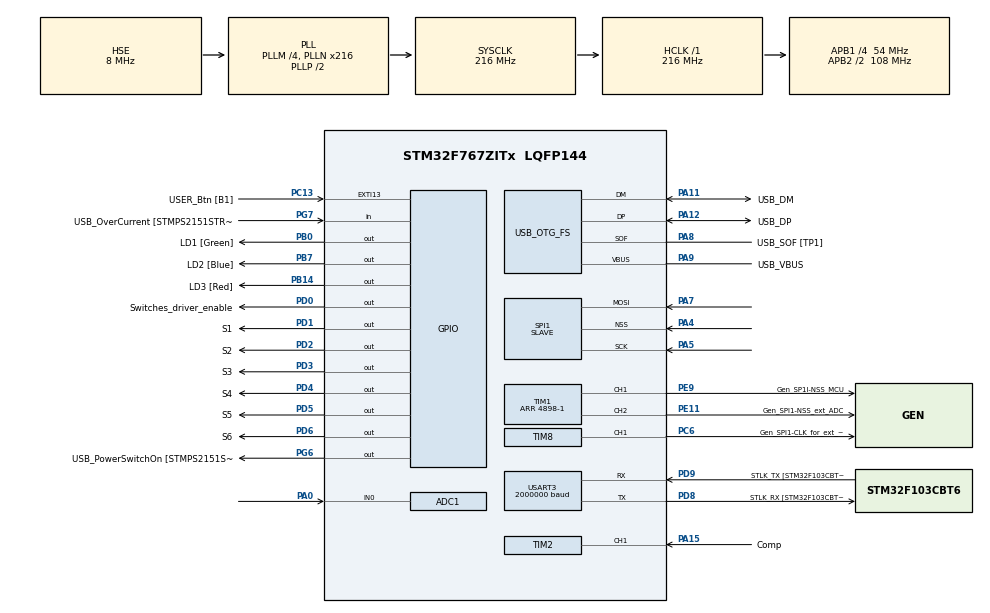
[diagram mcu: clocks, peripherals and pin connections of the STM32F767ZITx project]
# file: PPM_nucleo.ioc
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ADC1.Channel-0\#ChannelRegularConversion=ADC_CHANNEL_0
ADC1.EOCSelection=ADC_EOC_SINGLE_CONV
ADC1.ExternalTrigConv=ADC_EXTERNALTRIGCONV_T6_TRGO
ADC1.NbrOfConversionFlag=1
ADC1.Rank-0\#ChannelRegularConversion=1
ADC1.SamplingTime-0\#ChannelRegularConversion=ADC_SAMPLETIME_15CYCLES
ADC1.master=1
Dma.ADC1.1.Direction=DMA_PERIPH_TO_MEMORY
Dma.ADC1.1.FIFOMode=DMA_FIFOMODE_DISABLE
Dma.ADC1.1.Instance=DMA2_Stream4
Dma.ADC1.1.MemDataAlignment=DMA_MDATAALIGN_HALFWORD
Dma.ADC1.1.MemInc=DMA_MINC_ENABLE
Dma.ADC1.1.Mode=DMA_NORMAL
Dma.ADC1.1.PeriphDataAlignment=DMA_PDATAALIGN_HALFWORD
Dma.ADC1.1.PeriphInc=DMA_PINC_DISABLE
Dma.ADC1.1.Priority=DMA_PRIORITY_LOW
Dma.Request0=SPI1_RX
Dma.Request1=ADC1
Dma.SPI1_RX.0.Direction=DMA_PERIPH_TO_MEMORY
Dma.SPI1_RX.0.FIFOMode=DMA_FIFOMODE_DISABLE
Dma.SPI1_RX.0.Instance=DMA2_Stream0
Dma.SPI1_RX.0.MemDataAlignment=DMA_MDATAALIGN_HALFWORD
Dma.SPI1_RX.0.MemInc=DMA_MINC_ENABLE
Dma.SPI1_RX.0.Mode=DMA_NORMAL
Dma.SPI1_RX.0.PeriphDataAlignment=DMA_PDATAALIGN_HALFWORD
Dma.SPI1_RX.0.PeriphInc=DMA_PINC_DISABLE
Dma.SPI1_RX.0.Priority=DMA_PRIORITY_LOW
Mcu.Family=STM32F7
Mcu.Name=STM32F767ZITx
Mcu.Package=LQFP144
NVIC.DMA2_Stream0_IRQn=true\:1\:0\:true\:false\:true\:false\:true
NVIC.DMA2_Stream4_IRQn=true\:1\:0\:true\:false\:true\:false\:true
NVIC.PriorityGroup=NVIC_PRIORITYGROUP_4
NVIC.TIM1_CC_IRQn=true\:1\:0\:true\:false\:true\:true\:true
NVIC.TIM2_IRQn=true\:1\:0\:true\:false\:true\:true\:true
NVIC.TIM3_IRQn=true\:0\:0\:false\:false\:true\:true\:true
NVIC.TIM8_CC_IRQn=true\:1\:0\:true\:false\:true\:true\:true
NVIC.USART3_IRQn=true\:0\:0\:true\:false\:true\:true\:true
PA0/WKUP.Signal=ADCx_IN0
PA10.GPIO_Label=USB_ID
PA10.Signal=USB_OTG_FS_ID
PA11.GPIO_Label=USB_DM
PA11.Mode=Device_Only
PA11.Signal=USB_OTG_FS_DM
PA12.GPIO_Label=USB_DP
PA12.Mode=Device_Only
PA12.Signal=USB_OTG_FS_DP
PA13.GPIO_Label=TMS
PA13.Mode=Serial_Wire
PA13.Signal=SYS_JTMS-SWDIO
PA14.GPIO_Label=TCK
PA14.Mode=Serial_Wire
PA14.Signal=SYS_JTCK-SWCLK
PA15.GPIO_Label=Comp
PA15.Signal=S_TIM2_CH1_ETR
PA4.Mode=NSS_Signal_Hard_Input
PA4.Signal=SPI1_NSS
PA5.Mode=RX_Only_Simplex_Unidirect_Slave
PA5.Signal=SPI1_SCK
PA6.Signal=SPI1_MISO
PA7.Mode=RX_Only_Simplex_Unidirect_Slave
PA7.Signal=SPI1_MOSI
PA8.GPIO_Label=USB_SOF [TP1]
PA8.Mode=Activate_SOF_FS
PA8.Signal=USB_OTG_FS_SOF
PA9.GPIO_Label=USB_VBUS
PA9.Mode=Activate_VBUS
PA9.Signal=USB_OTG_FS_VBUS
PB0.GPIO_Label=LD1 [Green]
PB0.Signal=GPIO_Output
PB13.GPIO_Label=RMII_TXD1 [LAN8742A-CZ-TR_TXD1]
PB13.Signal=ETH_TXD1
PB14.GPIO_Label=LD3 [Red]
PB14.Signal=GPIO_Output
PB3.GPIO_Label=SWO
PB3.Signal=SYS_JTDO-SWO
PB7.GPIO_Label=LD2 [Blue]
PB7.Signal=GPIO_Output
PC1.GPIO_Label=RMII_MDC [LAN8742A-CZ-TR_MDC]
PC1.Signal=ETH_MDC
PC13.GPIO_Label=USER_Btn [B1]
PC13.Signal=GPXTI13
PC14/OSC32_IN.Mode=LSE-External-Oscillator
PC14/OSC32_IN.Signal=RCC_OSC32_IN
PC15/OSC32_OUT.Mode=LSE-External-Oscillator
PC15/OSC32_OUT.Signal=RCC_OSC32_OUT
PC4.GPIO_Label=RMII_RXD0 [LAN8742A-CZ-TR_RXD0]
PC4.Signal=ETH_RXD0
PC5.GPIO_Label=RMII_RXD1 [LAN8742A-CZ-TR_RXD1]
PC5.Signal=ETH_RXD1
PC6.GPIO_Label=Gen_SPI1-CLK_for_ext_ADC
PC6.Signal=S_TIM8_CH1
PD0.GPIO_Label=Switches_driver_enable
PD0.Signal=GPIO_Output
PD1.GPIO_Label=S1
PD1.Signal=GPIO_Output
PD2.GPIO_Label=S2
PD2.Signal=GPIO_Output
PD3.GPIO_Label=S3
PD3.Signal=GPIO_Output
PD4.GPIO_Label=S4
PD4.Signal=GPIO_Output
PD5.GPIO_Label=S5
PD5.Signal=GPIO_Output
PD6.GPIO_Label=S6
PD6.Signal=GPIO_Output
PD8.GPIO_Label=STLK_RX [STM32F103CBT6_PA3]
PD8.Mode=Asynchronous
PD8.Signal=USART3_TX
PD9.GPIO_Label=STLK_TX [STM32F103CBT6_PA2]
PD9.Mode=Asynchronous
PD9.Signal=USART3_RX
PE11.GPIO_Label=Gen_SPI1-NSS_ext_ADC
PE11.Signal=S_TIM1_CH2
PE9.GPIO_Label=Gen_SP1I-NSS_MCU
PE9.Signal=S_TIM1_CH1
PG11.GPIO_Label=RMII_TX_EN [LAN8742A-CZ-TR_TXEN]
PG11.Signal=ETH_TX_EN
PG13.GPIO_Label=RMII_TXD0 [LAN8742A-CZ-TR_TXD0]
PG13.Signal=ETH_TXD0
PG6.GPIO_Label=USB_PowerSwitchOn [STMPS2151STR_EN]
PG6.Signal=GPIO_Output
PG7.GPIO_Label=USB_OverCurrent [STMPS2151STR_FAULT]
PG7.Signal=GPIO_Input
PH0/OSC_IN.GPIO_Label=MCO [STM32F103CBT6_PA8]
PH0/OSC_IN.Mode=HSE-External-Clock-Source
PH0/OSC_IN.Signal=RCC_OSC_IN
PH1/OSC_OUT.Mode=HSE-External-Clock-Source
PH1/OSC_OUT.Signal=RCC_OSC_OUT
ProjectManager.HeapSize=0x200
ProjectManager.StackSize=0x400
ProjectManager.TargetToolchain=STM32CubeIDE
RCC.48MHZClocksFreq_Value=24000000
RCC.AHBFreq_Value=216000000
RCC.APB1CLKDivider=RCC_HCLK_DIV4
RCC.APB1Freq_Value=54000000
RCC.APB1TimFreq_Value=216000000
RCC.APB2CLKDivider=RCC_HCLK_DIV2
RCC.APB2Freq_Value=108000000
RCC.APB2TimFreq_Value=216000000
RCC.CortexFreq_Value=216000000
RCC.HCLKFreq_Value=216000000
RCC.HSE_VALUE=8000000
RCC.HSI_VALUE=16000000
RCC.PLLM=4
RCC.PLLMUL=RCC_PLL_MUL9
RCC.PLLN=216
RCC.PLLQ=9
RCC.PRESCALERUSB=RCC_USBCLKSOURCE_PLL_DIV1_5
RCC.RCC_TIM_PRescaler_Selection=RCC_TIMPRES_ACTIVATED
RCC.SYSCLKFreq_VALUE=216000000
RCC.SYSCLKSource=RCC_SYSCLKSOURCE_PLLCLK
RCC.SYSCLKSourceVirtual=RCC_SYSCLKSOURCE_PLLCLK
RCC.USBFreq_Value=48000000
RCC.VCOOutputFreq_Value=432000000
SH.ADCx_IN0.0=ADC1_IN0,IN0
SH.S_TIM1_CH1.0=TIM1_CH1,PWM Generation1 CH1
SH.S_TIM1_CH2.0=TIM1_CH2,PWM Generation2 CH2
SH.S_TIM2_CH1_ETR.0=TIM2_CH1,Input_Capture1_from_TI1
SH.S_TIM8_CH1.0=TIM8_CH1,PWM Generation1 CH1
SPI1.DataSize=SPI_DATASIZE_16BIT
SPI1.Direction=SPI_DIRECTION_2LINES_RXONLY
SPI1.Mode=SPI_MODE_SLAVE
SPI1.TIMode=SPI_TIMODE_DISABLE
SPI1.VirtualNSS=VM_NSSHARD
SPI1.VirtualType=VM_SLAVE
TIM1.Channel-PWM\ Generation1\ CH1=TIM_CHANNEL_1
TIM1.Channel-PWM\ Generation2\ CH2=TIM_CHANNEL_2
TIM1.CounterMode=TIM_COUNTERMODE_UP
TIM1.OCIdleState_1=TIM_OCIDLESTATE_SET
TIM1.OCIdleState_2=TIM_OCIDLESTATE_SET
TIM1.OCMode_PWM-PWM\ Generation1\ CH1=TIM_OCMODE_PWM2
TIM1.OCMode_PWM-PWM\ Generation2\ CH2=TIM_OCMODE_PWM1
TIM1.OCPolarity_1=TIM_OCPOLARITY_LOW
TIM1.OCPolarity_2=TIM_OCPOLARITY_LOW
TIM1.Period=4898-1
TIM1.Pulse-PWM\ Generation1\ CH1=864+10
TIM1.Pulse-PWM\ Generation2\ CH2=3000
TIM1.RepetitionCounter=0
TIM1.TIM_MasterOutputTrigger=TIM_TRGO_UPDATE
TIM1.TIM_MasterOutputTrigger2=TIM_TRGO2_RESET
TIM1.TIM_MasterSlaveMode=TIM_MASTERSLAVEMODE_ENABLE
TIM2.Channel-Input_Capture1_from_TI1=TIM_CHANNEL_1
TIM2.Period=0xffffffff
TIM3.Period=43200-1
TIM3.Prescaler=50000
TIM6.Period=4898-1
TIM6.TIM_MasterOutputTrigger=TIM_TRGO_UPDATE
TIM8.Channel-PWM\ Generation1\ CH1=TIM_CHANNEL_1
TIM8.OCIdleState_1=TIM_OCIDLESTATE_RESET
TIM8.OCMode_PWM-PWM\ Generation1\ CH1=TIM_OCMODE_PWM2
TIM8.OCPolarity_1=TIM_OCPOLARITY_HIGH
TIM8.Period=108-1
TIM8.Pulse-PWM\ Generation1\ CH1=54
TIM8.RepetitionCounter=24
TIM8.TIM_MasterOutputTrigger=TIM_TRGO_RESET
TIM8.TIM_MasterSlaveMode=TIM_MASTERSLAVEMODE_DISABLE
USART3.BaudRate=2000000
USART3.VirtualMode-Asynchronous=VM_ASYNC
USB_OTG_FS.VirtualMode=Device_Only
VP_TIM1_VS_ClockSourceINT.Mode=Internal
VP_TIM3_VS_ClockSourceINT.Mode=Internal
VP_TIM6_VS_ClockSourceINT.Mode=Enable_Timer
VP_TIM8_VS_ClockSourceINT.Mode=Internal
VP_TIM8_VS_ClockSourceITR.Mode=TriggerSource_ITR0
VP_TIM8_VS_ControllerModeTrigger.Mode=Trigger Mode
VP_TIM8_VS_OPM.Mode=OPM_bit
board=NUCLEO-F767ZI

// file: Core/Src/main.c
/* USER CODE BEGIN Header */
/**
 ******************************************************************************
 * @file           : main.c
 * @brief          : Main program body
 ******************************************************************************
 * @attention
 *
 * <h2><center>&copy; Copyright (c) 2020 STMicroelectronics.
 * All rights reserved.</center></h2>
 *
 * This software component is licensed by ST under BSD 3-Clause license,
 * the "License"; You may not use this file except in compliance with the
 * License. You may obtain a copy of the License at:
 *                        opensource.org/licenses/BSD-3-Clause
 *
 ******************************************************************************
 */
/* USER CODE END Header */

#include "main.h"

/* USER CODE BEGIN Includes */
#include "float.h"
#include "string.h"
#include "stdio.h"
/* USER CODE END Includes */

/* USER CODE BEGIN PD */
#define PERIOD 30
/* USER CODE END PD */

ADC_HandleTypeDef hadc1;
DMA_HandleTypeDef hdma_adc1;

SPI_HandleTypeDef hspi1;
DMA_HandleTypeDef hdma_spi1_rx;

TIM_HandleTypeDef htim1;
TIM_HandleTypeDef htim2;
TIM_HandleTypeDef htim3;
TIM_HandleTypeDef htim6;
TIM_HandleTypeDef htim8;

UART_HandleTypeDef huart3;

PCD_HandleTypeDef hpcd_USB_OTG_FS;

/* USER CODE BEGIN PV */

typedef struct States {
	uint8_t setMeasureTechnique;
	uint8_t activeMeasureTechnique;
	int16_t remainingMeasurements;
	int16_t setMeasurements;
	uint8_t measureTechniqueUpdated;
	uint8_t preparedToRunPolarizationPhase;
	uint16_t index;
} State;

State state;

union Buffer {
	uint8_t uint8[44100 * 2];
	uint16_t uint16[44100];
};
uint8_t filledBuffers = 0;
uint32_t samplesPerPeriod = 44100;
uint32_t samplesTotal = 44100 * 2;
union Buffer buffer_rx1;
union Buffer buffer_rx2;
uint8_t buffer_uart_rx[3];

uint32_t IC_Value1 = 0;
uint32_t IC_Value2 = 0;
uint32_t difference = 0;
uint32_t frequency = 0;
uint8_t firstCapturedSample = 0;  // 0- not captured, 1- captured
/* USER CODE END PV */

void SystemClock_Config(void);
static void MX_GPIO_Init(void);
static void MX_DMA_Init(void);
static void MX_USART3_UART_Init(void);
static void MX_USB_OTG_FS_PCD_Init(void);
static void MX_SPI1_Init(void);
static void MX_TIM8_Init(void);
static void MX_TIM1_Init(void);
static void MX_TIM2_Init(void);
static void MX_ADC1_Init(void);
static void MX_TIM3_Init(void);
static void MX_TIM6_Init(void);

/* USER CODE BEGIN 0 */
//Callback for receive SPI
void HAL_SPI_RxCpltCallback(SPI_HandleTypeDef *hspi);
void HAL_TIM_PeriodElapsedCallback(TIM_HandleTypeDef *htim);

/* USER CODE END 0 */

int main(void)
{

  /* MCU Configuration--------------------------------------------------------*/

  /* Reset of all peripherals, Initializes the Flash interface and the Systick. */
  HAL_Init();

  /* Configure the system clock */
  SystemClock_Config();

  /* Initialize all configured peripherals */
  MX_GPIO_Init();
  MX_DMA_Init();
  MX_USART3_UART_Init();
  MX_USB_OTG_FS_PCD_Init();
  MX_SPI1_Init();
  MX_TIM8_Init();
  MX_TIM1_Init();
  MX_TIM2_Init();
  MX_ADC1_Init();
  MX_TIM3_Init();
  MX_TIM6_Init();
  /* USER CODE BEGIN 2 */
	// Start timers
	HAL_UART_Receive_IT(&huart3, buffer_uart_rx, 3);
	//HAL_TIM_Base_Start_IT(&htim3);
	/*
	 switchingCircuitIdle();
	 HAL_Delay(100);
	 runPolarizationSequence();
	 HAL_Delay(1000);
	 switchingCircuitIdle();*/

	//Configure_DMA();
	//LL_DMA_EnableStream(DMA2, LL_DMA_STREAM_0);
  /* USER CODE END 2 */

  /* Infinite loop */
	while (1) {

    /* USER CODE BEGIN 3 */
		if (state.preparedToRunPolarizationPhase) {
			runMeasurementMethod();
		}
	}
  /* USER CODE END 3 */
}

void SystemClock_Config(void)
{
  RCC_OscInitTypeDef RCC_OscInitStruct = {0};
  RCC_ClkInitTypeDef RCC_ClkInitStruct = {0};
  RCC_PeriphCLKInitTypeDef PeriphClkInitStruct = {0};

  /** Configure LSE Drive Capability
  */
  HAL_PWR_EnableBkUpAccess();
  /** Configure the main internal regulator output voltage
  */
  __HAL_RCC_PWR_CLK_ENABLE();
  __HAL_PWR_VOLTAGESCALING_CONFIG(PWR_REGULATOR_VOLTAGE_SCALE1);
  /** Initializes the CPU, AHB and APB busses clocks
  */
  RCC_OscInitStruct.OscillatorType = RCC_OSCILLATORTYPE_HSE;
  RCC_OscInitStruct.HSEState = RCC_HSE_BYPASS;
  RCC_OscInitStruct.PLL.PLLState = RCC_PLL_ON;
  RCC_OscInitStruct.PLL.PLLSource = RCC_PLLSOURCE_HSE;
  RCC_OscInitStruct.PLL.PLLM = 4;
  RCC_OscInitStruct.PLL.PLLN = 216;
  RCC_OscInitStruct.PLL.PLLP = RCC_PLLP_DIV2;
  RCC_OscInitStruct.PLL.PLLQ = 9;
  if (HAL_RCC_OscConfig(&RCC_OscInitStruct) != HAL_OK)
  {
    Error_Handler();
  }
  /** Activate the Over-Drive mode
  */
  if (HAL_PWREx_EnableOverDrive() != HAL_OK)
  {
    Error_Handler();
  }
  /** Initializes the CPU, AHB and APB busses clocks
  */
  RCC_ClkInitStruct.ClockType = RCC_CLOCKTYPE_HCLK|RCC_CLOCKTYPE_SYSCLK
                              |RCC_CLOCKTYPE_PCLK1|RCC_CLOCKTYPE_PCLK2;
  RCC_ClkInitStruct.SYSCLKSource = RCC_SYSCLKSOURCE_PLLCLK;
  RCC_ClkInitStruct.AHBCLKDivider = RCC_SYSCLK_DIV1;
  RCC_ClkInitStruct.APB1CLKDivider = RCC_HCLK_DIV4;
  RCC_ClkInitStruct.APB2CLKDivider = RCC_HCLK_DIV2;

  if (HAL_RCC_ClockConfig(&RCC_ClkInitStruct, FLASH_LATENCY_7) != HAL_OK)
  {
    Error_Handler();
  }
  PeriphClkInitStruct.PeriphClockSelection = RCC_PERIPHCLK_TIM|RCC_PERIPHCLK_USART3
                              |RCC_PERIPHCLK_CLK48;
  PeriphClkInitStruct.Usart3ClockSelection = RCC_USART3CLKSOURCE_PCLK1;
  PeriphClkInitStruct.Clk48ClockSelection = RCC_CLK48SOURCE_PLL;
  PeriphClkInitStruct.TIMPresSelection = RCC_TIMPRES_ACTIVATED;

  if (HAL_RCCEx_PeriphCLKConfig(&PeriphClkInitStruct) != HAL_OK)
  {
    Error_Handler();
  }
}

static void MX_ADC1_Init(void)
{

  ADC_ChannelConfTypeDef sConfig = {0};

  /** Configure the global features of the ADC (Clock, Resolution, Data Alignment and number of conversion)
  */
  hadc1.Instance = ADC1;
  hadc1.Init.ClockPrescaler = ADC_CLOCK_SYNC_PCLK_DIV4;
  hadc1.Init.Resolution = ADC_RESOLUTION_12B;
  hadc1.Init.ScanConvMode = ADC_SCAN_DISABLE;
  hadc1.Init.ContinuousConvMode = DISABLE;
  hadc1.Init.DiscontinuousConvMode = DISABLE;
  hadc1.Init.ExternalTrigConvEdge = ADC_EXTERNALTRIGCONVEDGE_RISING;
  hadc1.Init.ExternalTrigConv = ADC_EXTERNALTRIGCONV_T6_TRGO;
  hadc1.Init.DataAlign = ADC_DATAALIGN_RIGHT;
  hadc1.Init.NbrOfConversion = 1;
  hadc1.Init.DMAContinuousRequests = DISABLE;
  hadc1.Init.EOCSelection = ADC_EOC_SINGLE_CONV;
  if (HAL_ADC_Init(&hadc1) != HAL_OK)
  {
    Error_Handler();
  }
  /** Configure for the selected ADC regular channel its corresponding rank in the sequencer and its sample time.
  */
  sConfig.Channel = ADC_CHANNEL_0;
  sConfig.Rank = ADC_REGULAR_RANK_1;
  sConfig.SamplingTime = ADC_SAMPLETIME_15CYCLES;
  if (HAL_ADC_ConfigChannel(&hadc1, &sConfig) != HAL_OK)
  {
    Error_Handler();
  }

}

static void MX_SPI1_Init(void)
{

  /* SPI1 parameter configuration*/
  hspi1.Instance = SPI1;
  hspi1.Init.Mode = SPI_MODE_SLAVE;
  hspi1.Init.Direction = SPI_DIRECTION_2LINES_RXONLY;
  hspi1.Init.DataSize = SPI_DATASIZE_16BIT;
  hspi1.Init.CLKPolarity = SPI_POLARITY_LOW;
  hspi1.Init.CLKPhase = SPI_PHASE_1EDGE;
  hspi1.Init.NSS = SPI_NSS_HARD_INPUT;
  hspi1.Init.FirstBit = SPI_FIRSTBIT_MSB;
  hspi1.Init.TIMode = SPI_TIMODE_DISABLE;
  hspi1.Init.CRCCalculation = SPI_CRCCALCULATION_DISABLE;
  hspi1.Init.CRCPolynomial = 7;
  hspi1.Init.CRCLength = SPI_CRC_LENGTH_DATASIZE;
  hspi1.Init.NSSPMode = SPI_NSS_PULSE_DISABLE;
  if (HAL_SPI_Init(&hspi1) != HAL_OK)
  {
    Error_Handler();
  }

}

static void MX_TIM1_Init(void)
{

  TIM_ClockConfigTypeDef sClockSourceConfig = {0};
  TIM_MasterConfigTypeDef sMasterConfig = {0};
  TIM_OC_InitTypeDef sConfigOC = {0};
  TIM_BreakDeadTimeConfigTypeDef sBreakDeadTimeConfig = {0};

  htim1.Instance = TIM1;
  htim1.Init.Prescaler = 0;
  htim1.Init.CounterMode = TIM_COUNTERMODE_UP;
  htim1.Init.Period = 4898-1;
  htim1.Init.ClockDivision = TIM_CLOCKDIVISION_DIV1;
  htim1.Init.RepetitionCounter = 0;
  htim1.Init.AutoReloadPreload = TIM_AUTORELOAD_PRELOAD_DISABLE;
  if (HAL_TIM_Base_Init(&htim1) != HAL_OK)
  {
    Error_Handler();
  }
  sClockSourceConfig.ClockSource = TIM_CLOCKSOURCE_INTERNAL;
  if (HAL_TIM_ConfigClockSource(&htim1, &sClockSourceConfig) != HAL_OK)
  {
    Error_Handler();
  }
  if (HAL_TIM_PWM_Init(&htim1) != HAL_OK)
  {
    Error_Handler();
  }
  sMasterConfig.MasterOutputTrigger = TIM_TRGO_UPDATE;
  sMasterConfig.MasterOutputTrigger2 = TIM_TRGO2_RESET;
  sMasterConfig.MasterSlaveMode = TIM_MASTERSLAVEMODE_ENABLE;
  if (HAL_TIMEx_MasterConfigSynchronization(&htim1, &sMasterConfig) != HAL_OK)
  {
    Error_Handler();
  }
  sConfigOC.OCMode = TIM_OCMODE_PWM2;
  sConfigOC.Pulse = 864+10;
  sConfigOC.OCPolarity = TIM_OCPOLARITY_LOW;
  sConfigOC.OCNPolarity = TIM_OCNPOLARITY_HIGH;
  sConfigOC.OCFastMode = TIM_OCFAST_DISABLE;
  sConfigOC.OCIdleState = TIM_OCIDLESTATE_SET;
  sConfigOC.OCNIdleState = TIM_OCNIDLESTATE_RESET;
  if (HAL_TIM_PWM_ConfigChannel(&htim1, &sConfigOC, TIM_CHANNEL_1) != HAL_OK)
  {
    Error_Handler();
  }
  sConfigOC.OCMode = TIM_OCMODE_PWM1;
  sConfigOC.Pulse = 3000;
  if (HAL_TIM_PWM_ConfigChannel(&htim1, &sConfigOC, TIM_CHANNEL_2) != HAL_OK)
  {
    Error_Handler();
  }
  sBreakDeadTimeConfig.OffStateRunMode = TIM_OSSR_DISABLE;
  sBreakDeadTimeConfig.OffStateIDLEMode = TIM_OSSI_DISABLE;
  sBreakDeadTimeConfig.LockLevel = TIM_LOCKLEVEL_OFF;
  sBreakDeadTimeConfig.DeadTime = 0;
  sBreakDeadTimeConfig.BreakState = TIM_BREAK_DISABLE;
  sBreakDeadTimeConfig.BreakPolarity = TIM_BREAKPOLARITY_HIGH;
  sBreakDeadTimeConfig.BreakFilter = 0;
  sBreakDeadTimeConfig.Break2State = TIM_BREAK2_DISABLE;
  sBreakDeadTimeConfig.Break2Polarity = TIM_BREAK2POLARITY_HIGH;
  sBreakDeadTimeConfig.Break2Filter = 0;
  sBreakDeadTimeConfig.AutomaticOutput = TIM_AUTOMATICOUTPUT_DISABLE;
  if (HAL_TIMEx_ConfigBreakDeadTime(&htim1, &sBreakDeadTimeConfig) != HAL_OK)
  {
    Error_Handler();
  }
  HAL_TIM_MspPostInit(&htim1);

}

static void MX_TIM2_Init(void)
{

  TIM_MasterConfigTypeDef sMasterConfig = {0};
  TIM_IC_InitTypeDef sConfigIC = {0};

  htim2.Instance = TIM2;
  htim2.Init.Prescaler = 0;
  htim2.Init.CounterMode = TIM_COUNTERMODE_UP;
  htim2.Init.Period = 0xffffffff;
  htim2.Init.ClockDivision = TIM_CLOCKDIVISION_DIV1;
  htim2.Init.AutoReloadPreload = TIM_AUTORELOAD_PRELOAD_DISABLE;
  if (HAL_TIM_IC_Init(&htim2) != HAL_OK)
  {
    Error_Handler();
  }
  sMasterConfig.MasterOutputTrigger = TIM_TRGO_RESET;
  sMasterConfig.MasterSlaveMode = TIM_MASTERSLAVEMODE_DISABLE;
  if (HAL_TIMEx_MasterConfigSynchronization(&htim2, &sMasterConfig) != HAL_OK)
  {
    Error_Handler();
  }
  sConfigIC.ICPolarity = TIM_INPUTCHANNELPOLARITY_RISING;
  sConfigIC.ICSelection = TIM_ICSELECTION_DIRECTTI;
  sConfigIC.ICPrescaler = TIM_ICPSC_DIV1;
  sConfigIC.ICFilter = 0;
  if (HAL_TIM_IC_ConfigChannel(&htim2, &sConfigIC, TIM_CHANNEL_1) != HAL_OK)
  {
    Error_Handler();
  }

}

static void MX_TIM3_Init(void)
{

  TIM_ClockConfigTypeDef sClockSourceConfig = {0};
  TIM_MasterConfigTypeDef sMasterConfig = {0};

  htim3.Instance = TIM3;
  htim3.Init.Prescaler = 50000;
  htim3.Init.CounterMode = TIM_COUNTERMODE_UP;
  htim3.Init.Period = 43200-1;
  htim3.Init.ClockDivision = TIM_CLOCKDIVISION_DIV1;
  htim3.Init.AutoReloadPreload = TIM_AUTORELOAD_PRELOAD_DISABLE;
  if (HAL_TIM_Base_Init(&htim3) != HAL_OK)
  {
    Error_Handler();
  }
  sClockSourceConfig.ClockSource = TIM_CLOCKSOURCE_INTERNAL;
  if (HAL_TIM_ConfigClockSource(&htim3, &sClockSourceConfig) != HAL_OK)
  {
    Error_Handler();
  }
  sMasterConfig.MasterOutputTrigger = TIM_TRGO_RESET;
  sMasterConfig.MasterSlaveMode = TIM_MASTERSLAVEMODE_DISABLE;
  if (HAL_TIMEx_MasterConfigSynchronization(&htim3, &sMasterConfig) != HAL_OK)
  {
    Error_Handler();
  }

}

static void MX_TIM6_Init(void)
{

  TIM_MasterConfigTypeDef sMasterConfig = {0};

  htim6.Instance = TIM6;
  htim6.Init.Prescaler = 0;
  htim6.Init.CounterMode = TIM_COUNTERMODE_UP;
  htim6.Init.Period = 4898-1;
  htim6.Init.AutoReloadPreload = TIM_AUTORELOAD_PRELOAD_DISABLE;
  if (HAL_TIM_Base_Init(&htim6) != HAL_OK)
  {
    Error_Handler();
  }
  sMasterConfig.MasterOutputTrigger = TIM_TRGO_UPDATE;
  sMasterConfig.MasterSlaveMode = TIM_MASTERSLAVEMODE_DISABLE;
  if (HAL_TIMEx_MasterConfigSynchronization(&htim6, &sMasterConfig) != HAL_OK)
  {
    Error_Handler();
  }

}

static void MX_TIM8_Init(void)
{

  TIM_ClockConfigTypeDef sClockSourceConfig = {0};
  TIM_SlaveConfigTypeDef sSlaveConfig = {0};
  TIM_MasterConfigTypeDef sMasterConfig = {0};
  TIM_OC_InitTypeDef sConfigOC = {0};
  TIM_BreakDeadTimeConfigTypeDef sBreakDeadTimeConfig = {0};

  htim8.Instance = TIM8;
  htim8.Init.Prescaler = 0;
  htim8.Init.CounterMode = TIM_COUNTERMODE_UP;
  htim8.Init.Period = 108-1;
  htim8.Init.ClockDivision = TIM_CLOCKDIVISION_DIV1;
  htim8.Init.RepetitionCounter = 24;
  htim8.Init.AutoReloadPreload = TIM_AUTORELOAD_PRELOAD_DISABLE;
  if (HAL_TIM_Base_Init(&htim8) != HAL_OK)
  {
    Error_Handler();
  }
  sClockSourceConfig.ClockSource = TIM_CLOCKSOURCE_INTERNAL;
  if (HAL_TIM_ConfigClockSource(&htim8, &sClockSourceConfig) != HAL_OK)
  {
    Error_Handler();
  }
  if (HAL_TIM_PWM_Init(&htim8) != HAL_OK)
  {
    Error_Handler();
  }
  if (HAL_TIM_OnePulse_Init(&htim8, TIM_OPMODE_SINGLE) != HAL_OK)
  {
    Error_Handler();
  }
  sSlaveConfig.SlaveMode = TIM_SLAVEMODE_TRIGGER;
  sSlaveConfig.InputTrigger = TIM_TS_ITR0;
  if (HAL_TIM_SlaveConfigSynchro(&htim8, &sSlaveConfig) != HAL_OK)
  {
    Error_Handler();
  }
  sMasterConfig.MasterOutputTrigger = TIM_TRGO_RESET;
  sMasterConfig.MasterOutputTrigger2 = TIM_TRGO2_RESET;
  sMasterConfig.MasterSlaveMode = TIM_MASTERSLAVEMODE_DISABLE;
  if (HAL_TIMEx_MasterConfigSynchronization(&htim8, &sMasterConfig) != HAL_OK)
  {
    Error_Handler();
  }
  sConfigOC.OCMode = TIM_OCMODE_PWM2;
  sConfigOC.Pulse = 54;
  sConfigOC.OCPolarity = TIM_OCPOLARITY_HIGH;
  sConfigOC.OCNPolarity = TIM_OCNPOLARITY_HIGH;
  sConfigOC.OCFastMode = TIM_OCFAST_DISABLE;
  sConfigOC.OCIdleState = TIM_OCIDLESTATE_RESET;
  sConfigOC.OCNIdleState = TIM_OCNIDLESTATE_RESET;
  if (HAL_TIM_PWM_ConfigChannel(&htim8, &sConfigOC, TIM_CHANNEL_1) != HAL_OK)
  {
    Error_Handler();
  }
  sBreakDeadTimeConfig.OffStateRunMode = TIM_OSSR_DISABLE;
  sBreakDeadTimeConfig.OffStateIDLEMode = TIM_OSSI_DISABLE;
  sBreakDeadTimeConfig.LockLevel = TIM_LOCKLEVEL_OFF;
  sBreakDeadTimeConfig.DeadTime = 0;
  sBreakDeadTimeConfig.BreakState = TIM_BREAK_DISABLE;
  sBreakDeadTimeConfig.BreakPolarity = TIM_BREAKPOLARITY_HIGH;
  sBreakDeadTimeConfig.BreakFilter = 0;
  sBreakDeadTimeConfig.Break2State = TIM_BREAK2_DISABLE;
  sBreakDeadTimeConfig.Break2Polarity = TIM_BREAK2POLARITY_HIGH;
  sBreakDeadTimeConfig.Break2Filter = 0;
  sBreakDeadTimeConfig.AutomaticOutput = TIM_AUTOMATICOUTPUT_DISABLE;
  if (HAL_TIMEx_ConfigBreakDeadTime(&htim8, &sBreakDeadTimeConfig) != HAL_OK)
  {
    Error_Handler();
  }
  HAL_TIM_MspPostInit(&htim8);

}

static void MX_USART3_UART_Init(void)
{

  huart3.Instance = USART3;
  huart3.Init.BaudRate = 2000000;
  huart3.Init.WordLength = UART_WORDLENGTH_8B;
  huart3.Init.StopBits = UART_STOPBITS_1;
  huart3.Init.Parity = UART_PARITY_NONE;
  huart3.Init.Mode = UART_MODE_TX_RX;
  huart3.Init.HwFlowCtl = UART_HWCONTROL_NONE;
  huart3.Init.OverSampling = UART_OVERSAMPLING_16;
  huart3.Init.OneBitSampling = UART_ONE_BIT_SAMPLE_DISABLE;
  huart3.AdvancedInit.AdvFeatureInit = UART_ADVFEATURE_NO_INIT;
  if (HAL_UART_Init(&huart3) != HAL_OK)
  {
    Error_Handler();
  }

}

static void MX_USB_OTG_FS_PCD_Init(void)
{

  hpcd_USB_OTG_FS.Instance = USB_OTG_FS;
  hpcd_USB_OTG_FS.Init.dev_endpoints = 6;
  hpcd_USB_OTG_FS.Init.speed = PCD_SPEED_FULL;
  hpcd_USB_OTG_FS.Init.dma_enable = DISABLE;
  hpcd_USB_OTG_FS.Init.phy_itface = PCD_PHY_EMBEDDED;
  hpcd_USB_OTG_FS.Init.Sof_enable = ENABLE;
  hpcd_USB_OTG_FS.Init.low_power_enable = DISABLE;
  hpcd_USB_OTG_FS.Init.lpm_enable = DISABLE;
  hpcd_USB_OTG_FS.Init.vbus_sensing_enable = ENABLE;
  hpcd_USB_OTG_FS.Init.use_dedicated_ep1 = DISABLE;
  if (HAL_PCD_Init(&hpcd_USB_OTG_FS) != HAL_OK)
  {
    Error_Handler();
  }

}

static void MX_DMA_Init(void)
{

  /* Init with LL driver */
  /* DMA controller clock enable */
  LL_AHB1_GRP1_EnableClock(LL_AHB1_GRP1_PERIPH_DMA2);

  /* DMA interrupt init */
  /* DMA2_Stream0_IRQn interrupt configuration */
  HAL_NVIC_SetPriority(DMA2_Stream0_IRQn, 1, 0);
  HAL_NVIC_EnableIRQ(DMA2_Stream0_IRQn);
  /* DMA2_Stream4_IRQn interrupt configuration */
  HAL_NVIC_SetPriority(DMA2_Stream4_IRQn, 1, 0);
  HAL_NVIC_EnableIRQ(DMA2_Stream4_IRQn);

}

static void MX_GPIO_Init(void)
{
  GPIO_InitTypeDef GPIO_InitStruct = {0};

  /* GPIO Ports Clock Enable */
  __HAL_RCC_GPIOC_CLK_ENABLE();
  __HAL_RCC_GPIOH_CLK_ENABLE();
  __HAL_RCC_GPIOA_CLK_ENABLE();
  __HAL_RCC_GPIOB_CLK_ENABLE();
  __HAL_RCC_GPIOE_CLK_ENABLE();
  __HAL_RCC_GPIOD_CLK_ENABLE();
  __HAL_RCC_GPIOG_CLK_ENABLE();

  /*Configure GPIO pin Output Level */
  HAL_GPIO_WritePin(GPIOB, LD1_Pin|LD3_Pin|LD2_Pin, GPIO_PIN_RESET);

  /*Configure GPIO pin Output Level */
  HAL_GPIO_WritePin(USB_PowerSwitchOn_GPIO_Port, USB_PowerSwitchOn_Pin, GPIO_PIN_RESET);

  /*Configure GPIO pin Output Level */
  HAL_GPIO_WritePin(GPIOD, Switches_driver_enable_Pin|S1_Pin|S2_Pin|S3_Pin
                          |S4_Pin|S5_Pin|S6_Pin, GPIO_PIN_RESET);

  /*Configure GPIO pin : USER_Btn_Pin */
  GPIO_InitStruct.Pin = USER_Btn_Pin;
  GPIO_InitStruct.Mode = GPIO_MODE_IT_RISING;
  GPIO_InitStruct.Pull = GPIO_NOPULL;
  HAL_GPIO_Init(USER_Btn_GPIO_Port, &GPIO_InitStruct);

  /*Configure GPIO pins : RMII_MDC_Pin RMII_RXD0_Pin RMII_RXD1_Pin */
  GPIO_InitStruct.Pin = RMII_MDC_Pin|RMII_RXD0_Pin|RMII_RXD1_Pin;
  GPIO_InitStruct.Mode = GPIO_MODE_AF_PP;
  GPIO_InitStruct.Pull = GPIO_NOPULL;
  GPIO_InitStruct.Speed = GPIO_SPEED_FREQ_VERY_HIGH;
  GPIO_InitStruct.Alternate = GPIO_AF11_ETH;
  HAL_GPIO_Init(GPIOC, &GPIO_InitStruct);

  /*Configure GPIO pins : LD1_Pin LD3_Pin LD2_Pin */
  GPIO_InitStruct.Pin = LD1_Pin|LD3_Pin|LD2_Pin;
  GPIO_InitStruct.Mode = GPIO_MODE_OUTPUT_PP;
  GPIO_InitStruct.Pull = GPIO_NOPULL;
  GPIO_InitStruct.Speed = GPIO_SPEED_FREQ_LOW;
  HAL_GPIO_Init(GPIOB, &GPIO_InitStruct);

  /*Configure GPIO pin : RMII_TXD1_Pin */
  GPIO_InitStruct.Pin = RMII_TXD1_Pin;
  GPIO_InitStruct.Mode = GPIO_MODE_AF_PP;
  GPIO_InitStruct.Pull = GPIO_NOPULL;
  GPIO_InitStruct.Speed = GPIO_SPEED_FREQ_VERY_HIGH;
  GPIO_InitStruct.Alternate = GPIO_AF11_ETH;
  HAL_GPIO_Init(RMII_TXD1_GPIO_Port, &GPIO_InitStruct);

  /*Configure GPIO pin : USB_PowerSwitchOn_Pin */
  GPIO_InitStruct.Pin = USB_PowerSwitchOn_Pin;
  GPIO_InitStruct.Mode = GPIO_MODE_OUTPUT_PP;
  GPIO_InitStruct.Pull = GPIO_NOPULL;
  GPIO_InitStruct.Speed = GPIO_SPEED_FREQ_LOW;
  HAL_GPIO_Init(USB_PowerSwitchOn_GPIO_Port, &GPIO_InitStruct);

  /*Configure GPIO pin : USB_OverCurrent_Pin */
  GPIO_InitStruct.Pin = USB_OverCurrent_Pin;
  GPIO_InitStruct.Mode = GPIO_MODE_INPUT;
  GPIO_InitStruct.Pull = GPIO_NOPULL;
  HAL_GPIO_Init(USB_OverCurrent_GPIO_Port, &GPIO_InitStruct);

  /*Configure GPIO pins : Switches_driver_enable_Pin S1_Pin S2_Pin S3_Pin
                           S4_Pin S5_Pin S6_Pin */
  GPIO_InitStruct.Pin = Switches_driver_enable_Pin|S1_Pin|S2_Pin|S3_Pin
                          |S4_Pin|S5_Pin|S6_Pin;
  GPIO_InitStruct.Mode = GPIO_MODE_OUTPUT_PP;
  GPIO_InitStruct.Pull = GPIO_NOPULL;
  GPIO_InitStruct.Speed = GPIO_SPEED_FREQ_LOW;
  HAL_GPIO_Init(GPIOD, &GPIO_InitStruct);

  /*Configure GPIO pins : RMII_TX_EN_Pin RMII_TXD0_Pin */
  GPIO_InitStruct.Pin = RMII_TX_EN_Pin|RMII_TXD0_Pin;
  GPIO_InitStruct.Mode = GPIO_MODE_AF_PP;
  GPIO_InitStruct.Pull = GPIO_NOPULL;
  GPIO_InitStruct.Speed = GPIO_SPEED_FREQ_VERY_HIGH;
  GPIO_InitStruct.Alternate = GPIO_AF11_ETH;
  HAL_GPIO_Init(GPIOG, &GPIO_InitStruct);

}

/* USER CODE BEGIN 4 */

void HAL_ADC_ConvCpltCallback(ADC_HandleTypeDef *hadc) {
	//stop the ADC when in interrupt
	HAL_ADC_Stop_DMA(&hadc1);

	filledBuffers++; //default value is 0

	//first buffer is filled
	if (filledBuffers == 1) {

		HAL_ADC_Start_DMA(&hadc1, (uint32_t*) &buffer_rx2.uint16,
				samplesPerPeriod);

	}

	//second buffer is filled, send data over UART
	else if (filledBuffers == 2) {

		// stop measuring
		switchingCircuitIdle();
		filledBuffers = 0;
		sendDataOverUART();

		state.remainingMeasurements--;
		//if freq should be measured only once, after the measurement, go to idle state
		if (state.remainingMeasurements == 0) {
			state.activeMeasureTechnique = 0;
			HAL_TIM_Base_Stop_IT(&htim6);

		} else {
			HAL_ADC_Start_DMA(&hadc1, (uint32_t*) &buffer_rx1.uint16,
					samplesPerPeriod);
		}

	}

}

void HAL_UART_RxCpltCallback(UART_HandleTypeDef *huart) {
	if (huart->Instance == USART3) {
		state.measureTechniqueUpdated = 1;
		prepareForNextMeasurements(buffer_uart_rx);
		char msg_buffer[18];
		//sprintf(msg_buffer, "Mode %u selected\n\r", state.setMeasureTechnique);
		HAL_UART_Transmit(&huart3, (uint8_t*) msg_buffer, strlen(msg_buffer),
				10);
		//wait for next incomming data
		HAL_UART_Receive_IT(&huart3, buffer_uart_rx, 3);
	}
}

prepareForNextMeasurements(char *receivedData) {

	//set measurement method
	switch (receivedData[0]) {
	case '0':
		state.setMeasureTechnique = 0;
		break;
	case '1':
		state.setMeasureTechnique = 1;
		break;
	case '2':
		state.setMeasureTechnique = 2;
		break;
	case '3':
		state.setMeasureTechnique = 3;
		break;
	default:
		state.setMeasureTechnique = 0;
		break;
	}

	//set number of measurements
	switch (receivedData[1]) {
	case '0':
		state.setMeasurements = -1;
		break;
	case '1':
		state.setMeasurements = 1;
		break;
	case '2':
		state.setMeasurements = 2;
		break;
	case '3':
		state.setMeasurements = 3;
		break;
	case '4':
		state.setMeasurements = 4;
		break;
	case '5':
		state.setMeasurements = 5;
		break;
	case '6':
		state.setMeasurements = 6;
		break;
	case '7':
		state.setMeasurements = 7;
		break;
	case '8':
		state.setMeasurements = 8;
		break;
	case '9':
		state.setMeasurements = 9;
		break;
	default:
		state.setMeasurements = 1;
		break;
	}
	state.preparedToRunPolarizationPhase = 1;
}

void HAL_SPI_RxCpltCallback(SPI_HandleTypeDef *hspi) {
	filledBuffers++;

	//first buffer is filled
	if (filledBuffers == 1) {
		HAL_SPI_Receive_DMA(&hspi1, buffer_rx2.uint8, samplesPerPeriod);
	}

	//second buffer is filled, send data over UART
	else if (filledBuffers == 2) {
		// stop measuring
		switchingCircuitIdle();
		// turn off timers
		HAL_TIM_PWM_Stop_IT(&htim1, TIM_CHANNEL_1);
		HAL_TIM_PWM_Stop_IT(&htim1, TIM_CHANNEL_2);
		HAL_TIM_PWM_Stop_IT(&htim8, TIM_CHANNEL_1);

		filledBuffers = 0;
		sendDataOverUART();

		state.remainingMeasurements--;
		//if this is the last measurement, go to idle state
		if (state.remainingMeasurements == 0) {
			state.activeMeasureTechnique = 0;
		}
		else{
			state.preparedToRunPolarizationPhase = 1;
		}

	}

	//ToModify
	//HAL_TIM_Base_Stop(&htim1);
	//HAL_TIM_PWM_Stop_IT(&htim1, TIM_CHANNEL_1);
	//HAL_TIM_PWM_Stop_IT(&htim1, TIM_CHANNEL_2);

	//send data over uart
	/*if (hspi == &hspi1) {
	 char msg_buffers[16];
	 HAL_GPIO_WritePin(GPIOA, GPIO_PIN_4, SET);
	 adc = (uint16_t) 256 * buffer_rx[1] + (uint16_t) buffer_rx[2];
	 samplesPerPeriod++;
	 sprintf(msg_buffers, "%hu\n", adc);
	 HAL_UART_Transmit(&huart3, (uint8_t*) msg_buffers, strlen(msg_buffers), HAL_MAX_DELAY);

	 }*/
}

void sendDataOverUART() {
	char msg_freq[16];
	char msg_buffers[16];
	uint16_t adc = 0;
	int i = 0;
	if (state.activeMeasureTechnique == 1
			|| state.activeMeasureTechnique == 2) {
		// first buffer
		for (i = 0; i < samplesPerPeriod; i++) {
			adc = (uint16_t) (buffer_rx1.uint8[i])
					+ (uint16_t) (256 * buffer_rx1.uint8[i + 1]);
			sprintf(msg_buffers, "%hu\n", adc);
			HAL_UART_Transmit(&huart3, (uint8_t*) msg_buffers,
					strlen(msg_buffers),
					HAL_MAX_DELAY);
			i++;
		}
		//second buffer
		for (i = 0; i < samplesPerPeriod; i++) {
			adc = (uint16_t) (buffer_rx2.uint8[i])
					+ (uint16_t) (256 * buffer_rx2.uint8[i + 1]);
			sprintf(msg_buffers, "%hu\n", adc);
			HAL_UART_Transmit(&huart3, (uint8_t*) msg_buffers,
					strlen(msg_buffers),
					HAL_MAX_DELAY);
			i++;
		}
		sprintf(msg_buffers, ";%hu\n", 50);
		HAL_UART_Transmit(&huart3, (uint8_t*) msg_buffers, strlen(msg_buffers),
		HAL_MAX_DELAY);
	} else if (state.activeMeasureTechnique == 3) {
		//send frequency
		sprintf(msg_freq, "%d\n", frequency);
		HAL_UART_Transmit(&huart3, (uint8_t*) msg_freq, strlen(msg_freq),
		HAL_MAX_DELAY);
	}

}

void HAL_TIM_PeriodElapsedCallback(TIM_HandleTypeDef *htim) {
	if (htim->Instance == TIM4) {
		//HAL_GPIO_TogglePin(LD1_GPIO_Port, LD1_Pin);
	}

	if (htim->Instance == TIM6) {
		HAL_GPIO_TogglePin(LD1_GPIO_Port, LD1_Pin);
	}

	// period  100 ms
	if (htim->Instance == TIM3) {/*
		if (state.index < PERIOD) {
			chooseActionByState();
		} else {
			state.index = 0;
		}
		state.index++;*/

	}

}

void Configure_DMA(void) {
	/* (1) Enable the clock of DMA2 */
	LL_AHB1_GRP1_EnableClock(LL_AHB1_GRP1_PERIPH_DMA2);
	/* (2) Configure the DMA functionnal parameters */
	/* Configuration of the DMA parameters can be done using unitary functions or using the specific configure function */
	/* Unitary Functions */

	LL_DMA_SetDataTransferDirection(DMA2, LL_DMA_STREAM_0,
	LL_DMA_DIRECTION_MEMORY_TO_MEMORY);
	LL_DMA_SetStreamPriorityLevel(DMA2, LL_DMA_STREAM_0, LL_DMA_PRIORITY_HIGH);
	LL_DMA_SetMode(DMA2, LL_DMA_STREAM_0, LL_DMA_MODE_NORMAL);
	LL_DMA_SetPeriphIncMode(DMA2, LL_DMA_STREAM_0, LL_DMA_PERIPH_INCREMENT);
	LL_DMA_SetMemoryIncMode(DMA2, LL_DMA_STREAM_0, LL_DMA_MEMORY_INCREMENT);
	LL_DMA_SetPeriphSize(DMA2, LL_DMA_STREAM_0, LL_DMA_PDATAALIGN_HALFWORD);
	LL_DMA_SetMemorySize(DMA2, LL_DMA_STREAM_0, LL_DMA_PDATAALIGN_HALFWORD);

	/* Configure Function */
//  LL_DMA_ConfigTransfer(DMA2, LL_DMA_STREAM_0, LL_DMA_DIRECTION_MEMORY_TO_MEMORY |
//                                               LL_DMA_PRIORITY_HIGH              |
//                                               LL_DMA_MODE_NORMAL                |
//                                               LL_DMA_PERIPH_INCREMENT           |
//                                               LL_DMA_MEMORY_INCREMENT           |
//                                               LL_DMA_PDATAALIGN_WORD            |
//                                               LL_DMA_MDATAALIGN_WORD);
	LL_DMA_SetDataLength(DMA2, LL_DMA_STREAM_0, samplesPerPeriod);
	LL_DMA_ConfigAddresses(DMA2, LL_DMA_STREAM_0,
			(uint32_t) &hspi1.Instance->DR, (uint32_t) &buffer_rx1,
			LL_DMA_GetDataTransferDirection(DMA2, LL_DMA_STREAM_0));

	/* (3) Configure NVIC for DMA transfer complete/error interrupts */
	LL_DMA_EnableIT_TC(DMA2, LL_DMA_STREAM_0);
	LL_DMA_EnableIT_TE(DMA2, LL_DMA_STREAM_0);
	NVIC_SetPriority(DMA2_Stream0_IRQn, 0);
	NVIC_EnableIRQ(DMA2_Stream0_IRQn);
}

void HAL_TIM_IC_CaptureCallback(TIM_HandleTypeDef *htim) {
	if (htim->Instance == TIM2) {
		measureFrequencyWithTimer(htim);
	}
}

void initialization() {
	state.setMeasureTechnique = 0;
	state.activeMeasureTechnique = 0;
	state.remainingMeasurements = 0;
	state.preparedToRunPolarizationPhase = 0;
	state.index = 0;
}

void runMeasurementMethod() {
	// if new measurement technique was set, update remaining measurements as well
	if (state.measureTechniqueUpdated) {
		state.remainingMeasurements = state.setMeasurements;
		state.activeMeasureTechnique = state.setMeasureTechnique;
		state.measureTechniqueUpdated = 0;

	}
	switch (state.activeMeasureTechnique) {

	case 0:
		// Idle state
		showOnLEDs(0, 0, 0);
		break;
	case 1:
		// measure with external ADC
		runPolarizationSequence();
		measureWithExternalADC();
		break;
	case 2:
		// measure with internal ADC
		runPolarizationSequence();
		measureWithInternalADC();
		break;
	case 3:
		// measure with comparator
		runPolarizationSequence();
		measureWithComparator();
		break;

	}
}

void showOnLEDs(uint8_t L1, uint8_t L2, uint8_t L3) {

	HAL_GPIO_WritePin(LD1_GPIO_Port, LD1_Pin, L1);
	HAL_GPIO_WritePin(LD2_GPIO_Port, LD2_Pin, L2);
	HAL_GPIO_WritePin(LD3_GPIO_Port, LD3_Pin, L3);
}

void measureWithExternalADC() {
	// visualise
	showOnLEDs(1, 0, 0);
	// Start SPI communication over DMA
	HAL_SPI_Receive_DMA(&hspi1, buffer_rx1.uint8, samplesPerPeriod);
	//turn on timers
	HAL_TIM_PWM_Start_IT(&htim1, TIM_CHANNEL_1);	// SPI -  MCU NSS
	HAL_TIM_PWM_Start_IT(&htim1, TIM_CHANNEL_2); 	// SPI -  External ADC NSS
	HAL_TIM_PWM_Start_IT(&htim8, TIM_CHANNEL_1);	// SPI -  CLK
}

void measureWithInternalADC() {
	// visualise
	showOnLEDs(0, 1, 0);
	//start ADC
	HAL_ADC_Start_DMA(&hadc1, (uint32_t*) &buffer_rx1.uint16, samplesPerPeriod);
	// start timer
	HAL_TIM_Base_Start_IT(&htim6);
}

void measureWithComparator() {
	// visualise
	showOnLEDs(0, 0, 1);
	// run the timer
	HAL_TIM_IC_Start_IT(&htim2, TIM_CHANNEL_1);
}

//mode = 1 ... run only once, mode = 0 ... run infinity times
void measureFrequencyWithTimer(TIM_HandleTypeDef *htim) {
	if (firstCapturedSample == 0) {
		IC_Value1 = HAL_TIM_ReadCapturedValue(htim, TIM_CHANNEL_1);
		firstCapturedSample = 1;
	}

	else if (firstCapturedSample) {
		IC_Value2 = HAL_TIM_ReadCapturedValue(htim, TIM_CHANNEL_1);
		difference = IC_Value2 - IC_Value1;
		frequency = /*HAL_RCC_GetHCLKFreq() /*/difference;
		firstCapturedSample = 0;
		sendDataOverUART();

		state.remainingMeasurements--;
		//if freq should be measured only once, after the measurement, go to idle state
		if (state.remainingMeasurements == 0) {
			state.activeMeasureTechnique = 0;
		}
		else{
			state.preparedToRunPolarizationPhase = 1;
		}
	}
}

void runPolarizationSequence() {
	//polarization phase will be ready after measurements
	state.preparedToRunPolarizationPhase = 0;

	// visualise
	showOnLEDs(1, 1, 1);
	//run sequnece T2 - prepare for polarization
	HAL_GPIO_WritePin(S1_GPIO_Port, S1_Pin, 1);
	HAL_GPIO_WritePin(S2_GPIO_Port, S2_Pin, 0);
	HAL_GPIO_WritePin(S3_GPIO_Port, S3_Pin, 1);
	HAL_GPIO_WritePin(S4_GPIO_Port, S4_Pin, 0);
	HAL_GPIO_WritePin(S5_GPIO_Port, S5_Pin, 0);
	HAL_GPIO_WritePin(S6_GPIO_Port, S6_Pin, 1);
	HAL_Delay(5);

	//run sequnece T3 - Polarization phase
	HAL_GPIO_WritePin(S1_GPIO_Port, S1_Pin, 1);
	HAL_GPIO_WritePin(S2_GPIO_Port, S2_Pin, 0);
	HAL_GPIO_WritePin(S3_GPIO_Port, S3_Pin, 1);
	HAL_GPIO_WritePin(S4_GPIO_Port, S4_Pin, 1);
	HAL_GPIO_WritePin(S5_GPIO_Port, S5_Pin, 0);
	HAL_GPIO_WritePin(S6_GPIO_Port, S6_Pin, 1);
	HAL_Delay(1000);

	//run sequnece T4 - Coil discharge
	HAL_GPIO_WritePin(S1_GPIO_Port, S1_Pin, 0);
	HAL_GPIO_WritePin(S2_GPIO_Port, S2_Pin, 0);
	HAL_GPIO_WritePin(S3_GPIO_Port, S3_Pin, 1);
	HAL_GPIO_WritePin(S4_GPIO_Port, S4_Pin, 0);
	HAL_GPIO_WritePin(S5_GPIO_Port, S5_Pin, 1);
	HAL_GPIO_WritePin(S6_GPIO_Port, S6_Pin, 1);
	HAL_Delay(10);

	//run sequnece T5 - wait before measuring
	HAL_GPIO_WritePin(S1_GPIO_Port, S1_Pin, 1);
	HAL_GPIO_WritePin(S2_GPIO_Port, S2_Pin, 0);
	HAL_GPIO_WritePin(S3_GPIO_Port, S3_Pin, 1);
	HAL_GPIO_WritePin(S4_GPIO_Port, S4_Pin, 1);
	HAL_GPIO_WritePin(S5_GPIO_Port, S5_Pin, 0);
	HAL_GPIO_WritePin(S6_GPIO_Port, S6_Pin, 0);
	HAL_Delay(5);

	//run sequnece T6 - measure
	HAL_GPIO_WritePin(S1_GPIO_Port, S1_Pin, 1);
	HAL_GPIO_WritePin(S2_GPIO_Port, S2_Pin, 1);
	HAL_GPIO_WritePin(S3_GPIO_Port, S3_Pin, 0);
	HAL_GPIO_WritePin(S4_GPIO_Port, S4_Pin, 1);
	HAL_GPIO_WritePin(S5_GPIO_Port, S5_Pin, 0);
	HAL_GPIO_WritePin(S6_GPIO_Port, S6_Pin, 1);

}

void switchingCircuitIdle() {
	// visualise
	showOnLEDs(0, 0, 0);
	// active low output enable
	HAL_GPIO_WritePin(Switches_driver_enable_GPIO_Port,
	Switches_driver_enable_Pin, 0);
	//also run the sequnece T1 (isolate amplifier)
	HAL_GPIO_WritePin(S1_GPIO_Port, S1_Pin, 0);
	HAL_GPIO_WritePin(S2_GPIO_Port, S2_Pin, 0);
	HAL_GPIO_WritePin(S3_GPIO_Port, S3_Pin, 1);
	HAL_GPIO_WritePin(S4_GPIO_Port, S4_Pin, 0);
	HAL_GPIO_WritePin(S5_GPIO_Port, S5_Pin, 0);
	HAL_GPIO_WritePin(S6_GPIO_Port, S6_Pin, 0);
}

void switchingCircuitOff() {
	// active low output enable
	HAL_GPIO_WritePin(Switches_driver_enable_GPIO_Port,
	Switches_driver_enable_Pin, 1);
	HAL_GPIO_WritePin(S1_GPIO_Port, S1_Pin, 0);
	HAL_GPIO_WritePin(S2_GPIO_Port, S2_Pin, 0);
	HAL_GPIO_WritePin(S3_GPIO_Port, S3_Pin, 0);
	HAL_GPIO_WritePin(S4_GPIO_Port, S4_Pin, 0);
	HAL_GPIO_WritePin(S5_GPIO_Port, S5_Pin, 0);
	HAL_GPIO_WritePin(S6_GPIO_Port, S6_Pin, 0);
}

/* USER CODE END 4 */

void Error_Handler(void)
{
}

/************************ (C) COPYRIGHT STMicroelectronics *****END OF FILE****/
